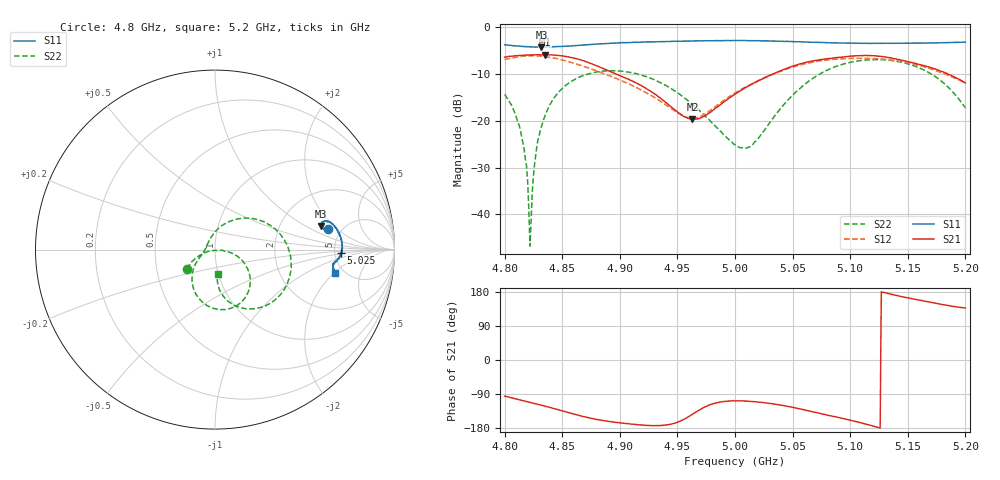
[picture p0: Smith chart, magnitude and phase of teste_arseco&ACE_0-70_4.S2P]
! Network Analyzer HP8722D
! Hewlett-Packard
! Data name: Linha & Wilkinson
! Saver's name: Rodrigo Anjos
! Comments: Teste da utilização de aquisição
! continua pelo VNA HP8722D
! Time and date: 8/5/2025 12:47
!  Frequency  S11  S21  S12  S22
# HZ  S  MA R 50
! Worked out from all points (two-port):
!   401 points, 4.8 GHz to 5.2 GHz, reference 50 ohm
!   highest |S21| = -5.99 dB at 4.835 GHz (marker M1); lowest = -19.8 dB at 4.963 GHz (marker M2)
!   |S21| within 3 dB of the highest: start of sweep to 4.886 GHz; 5.044 GHz to 5.173 GHz (129.4 MHz wide, 2.53 % of centre)
!   lowest |S11| = -4.4 dB at 4.832 GHz (marker M3), VSWR 4.04, Z = 171 + j70.4 ohm
!   |S11| at or under -10 dB: nowhere
!   |S22| runs from -46.7 to -7.0 dB; largest |S21 - S12| = 0.11
!   S11 on the Smith chart (normalised r, x): 4.8 GHz: 3.90, +1.53; 5.025 GHz: 5.70, -0.37; 5.2 GHz: 4.20, -2.09
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4.8e9  0.6387 10.5  0.4726 -95.4  0.4459 -81.6  0.1904 -145.5
4.814e9  0.6151 10.8  0.4942 -105.8  0.4802 -94.3  0.07602 -159.3
4.818e9  0.6123 11.2  0.4978 -109.0  0.4857 -98.4  0.03905 -166.1
4.82e9  0.6103 11.4  0.4984 -110.3  0.4881 -100.3  0.02242 -159.9
4.822e9  0.6079 11.3  0.4969 -111.6  0.4879 -102.4  0.004601 -118.9
4.824e9  0.6057 11.9  0.4986 -113.3  0.4894 -104.5  0.01731 -16.0
4.827e9  0.6048 11.9  0.4996 -115.5  0.4875 -107.3  0.04295 -5.2
4.832e9  0.6032 12.6  0.4993 -119.3  0.4838 -112.3  0.08598 -10.7
4.835e9  0.6046 12.8  0.5018 -121.8  0.4798 -115.3  0.112 -14.2
4.848e9  0.6132 14.1  0.4895 -132.3  0.4484 -126.7  0.2071 -29.9
4.867e9  0.6339 14.4  0.4378 -148.2  0.3822 -140.5  0.297 -50.7
4.898e9  0.6682 12.5  0.3076 -165.1  0.2765 -154.9  0.3376 -82.1
4.934e9  0.6913 9.1  0.1773 -173.2  0.1648 -160.0  0.2573 -116.3
4.963e9  0.7012 6.0  0.1029 -143.4  0.1053 -131.4  0.1488 -140.5
5e9  0.7093 1.9  0.1908 -107.8  0.1963 -101.9  0.05548 177.9
5.012e9  0.7081 0.3  0.2339 -108.9  0.2366 -103.7  0.05195 141.5
5.025e9  0.7028 -1.3  0.2822 -112.6  0.282 -107.7  0.07754 102.8
5.067e9  0.6819 -5.3  0.4298 -136.4  0.4169 -131.9  0.2776 38.0
5.102e9  0.665 -6.7  0.4846 -160.2  0.4578 -155.9  0.4203 -4.3
5.134e9  0.6631 -7.8  0.4663 174.6  0.4431 -178.1  0.4373 -38.6
5.171e9  0.6713 -9.6  0.3639 151.5  0.3504 157.9  0.3089 -73.7
5.2e9  0.6822 -11.2  0.2503 137.3  0.2508 144.9  0.1364 -83.6
